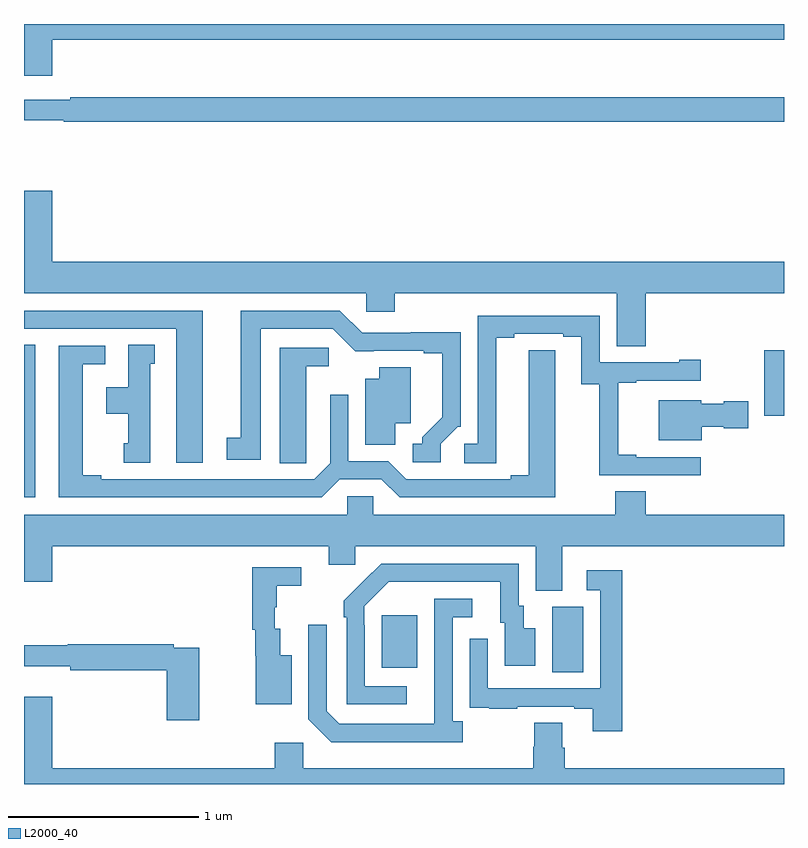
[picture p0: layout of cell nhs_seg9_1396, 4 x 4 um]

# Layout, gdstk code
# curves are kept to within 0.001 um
import gdstk
lib = gdstk.Library(unit=1e-6, precision=1e-09)
def R(c, l, rs):  # rectangles x0, y0, x1, y1
    for r in rs: c.add(gdstk.rectangle(r[:2], r[2:], *l))
def P(c, l, *ps):  # polygons
    for p in ps: c.add(gdstk.Polygon(p, *l))
L2000_40 = (2000, 40)

nhs_seg9_1396 = lib.new_cell('nhs_seg9_1396')
R(nhs_seg9_1396, L2000_40, [(191.78,1197.088,191.944,1197.432), (190.883,1197.113,191.071,1197.388), (189,1198.008,189.058,1198.811), (192.896,1198.439,193,1198.783)])
P(nhs_seg9_1396, L2000_40, [(189.148,1200.416),(193,1200.416),(193,1200.5),(189,1200.5),(189,1200.228),(189.148,1200.228)],
  [(193,1200.115),(189.244,1200.115),(189.244,1200.102),(189,1200.102),(189,1199.994),(189.208,1199.994),(189.208,1199.986),(193,1199.986)],
  [(192.272,1199.084),(193,1199.084),(193,1199.248),(189.148,1199.248),(189.148,1199.623),(189,1199.623),(189,1199.084),(190.8,1199.084),(190.8,1198.986),(190.952,1198.986),(190.952,1199.084),(192.119,1199.084),(192.119,1198.804),(192.272,1198.804)],
  [(189.94,1198.992),(189,1198.992),(189,1198.896),(189.8,1198.896),(189.8,1198.191),(189.94,1198.191)],
  [(191.193,1198.29),(191.283,1198.38),(191.298,1198.38),(191.298,1198.877),(191.035,1198.877),(191.035,1198.875),(190.779,1198.875),(190.662,1198.992),(190.142,1198.992),(190.142,1198.322),(190.068,1198.322),(190.068,1198.206),(190.246,1198.206),(190.246,1198.896),(190.626,1198.896),(190.744,1198.778),(191.105,1198.779),(191.105,1198.767),(191.201,1198.767),(191.201,1198.43),(191.096,1198.325),(191.096,1198.29),(191.046,1198.29),(191.046,1198.194),(191.193,1198.194)],
  [(192.562,1198.221),(192.223,1198.221),(192.223,1198.234),(192.128,1198.234),(192.128,1198.611),(192.223,1198.611),(192.223,1198.623),(192.562,1198.623),(192.562,1198.732),(192.449,1198.732),(192.449,1198.719),(192.03,1198.719),(192.03,1198.965),(191.388,1198.965),(191.388,1198.29),(191.316,1198.29),(191.316,1198.189),(191.485,1198.189),(191.485,1198.849),(191.581,1198.849),(191.581,1198.869),(191.837,1198.869),(191.837,1198.854),(191.933,1198.854),(191.933,1198.603),(192.028,1198.603),(192.028,1198.125),(192.562,1198.125)],
  [(189.664,1198.713),(189.688,1198.713),(189.688,1198.811),(189.548,1198.811),(189.548,1198.588),(189.434,1198.588),(189.434,1198.448),(189.548,1198.448),(189.548,1198.293),(189.524,1198.293),(189.524,1198.191),(189.664,1198.191)],
  [(190.663,1198.104),(190.881,1198.104),(190.977,1198.008),(191.797,1198.008),(191.796,1198.784),(191.657,1198.784),(191.657,1198.124),(191.561,1198.124),(191.561,1198.104),(191.013,1198.104),(190.917,1198.2),(190.707,1198.2),(190.707,1198.549),(190.611,1198.549),(190.611,1198.188),(190.527,1198.104),(189.406,1198.104),(189.406,1198.124),(189.31,1198.124),(189.31,1198.71),(189.427,1198.71),(189.427,1198.806),(189.182,1198.806),(189.182,1198.008),(190.567,1198.008)],
  [(190.485,1198.297),(190.486,1198.297),(190.486,1198.7),(190.603,1198.7),(190.603,1198.797),(190.346,1198.797),(190.346,1198.189),(190.485,1198.189)],
  [(190.954,1198.4),(191.035,1198.4),(191.035,1198.694),(190.871,1198.694),(190.871,1198.633),(190.796,1198.633),(190.796,1198.285),(190.954,1198.285)],
  [(192.568,1198.379),(192.684,1198.379),(192.684,1198.372),(192.811,1198.372),(192.811,1198.514),(192.684,1198.514),(192.684,1198.501),(192.564,1198.501),(192.564,1198.519),(192.341,1198.519),(192.341,1198.31),(192.568,1198.31)],
  [(191.833,1197.752),(193,1197.752),(193,1197.916),(192.272,1197.916),(192.272,1198.04),(192.112,1198.04),(192.112,1197.916),(190.839,1197.916),(190.839,1198.014),(190.701,1198.014),(190.701,1197.916),(189,1197.916),(189,1197.564),(189.148,1197.564),(189.148,1197.752),(190.604,1197.752),(190.604,1197.654),(190.743,1197.654),(190.743,1197.752),(191.693,1197.752),(191.693,1197.517),(191.833,1197.517)],
  [(191.014,1197.015),(190.794,1197.015),(190.794,1197.335),(190.791,1197.335),(190.791,1197.435),(190.92,1197.564),(191.507,1197.564),(191.507,1197.348),(191.531,1197.348),(191.531,1197.123),(191.692,1197.123),(191.692,1197.319),(191.629,1197.319),(191.629,1197.438),(191.604,1197.438),(191.604,1197.66),(190.88,1197.66),(190.683,1197.465),(190.683,1197.377),(190.698,1197.377),(190.698,1196.919),(191.014,1196.919)],
  [(190.408,1197.178),(190.348,1197.178),(190.348,1197.316),(190.319,1197.316),(190.319,1197.431),(190.33,1197.431),(190.33,1197.544),(190.459,1197.544),(190.459,1197.642),(190.201,1197.642),(190.201,1197.312),(190.216,1197.312),(190.216,1197.174),(190.22,1197.174),(190.22,1196.921),(190.408,1196.921)],
  [(192.149,1197.625),(191.961,1197.625),(191.961,1197.519),(192.033,1197.519),(192.033,1197.003),(191.442,1197.003),(191.442,1197.265),(191.346,1197.265),(191.346,1197.01),(191.347,1197.01),(191.347,1196.901),(191.449,1196.901),(191.449,1196.895),(191.597,1196.895),(191.597,1196.907),(191.897,1196.907),(191.897,1196.895),(191.993,1196.895),(191.993,1196.778),(192.149,1196.778)],
  [(191.308,1196.83),(191.256,1196.83),(191.256,1197.378),(191.359,1197.378),(191.359,1197.474),(191.16,1197.474),(191.159,1196.817),(190.659,1196.817),(190.593,1196.883),(190.593,1197.337),(190.497,1197.337),(190.497,1196.841),(190.618,1196.72),(191.308,1196.72)],
  [(189.922,1197.216),(189.788,1197.216),(189.788,1197.236),(189.23,1197.236),(189.23,1197.229),(189,1197.229),(189,1197.119),(189.244,1197.119),(189.244,1197.1),(189.752,1197.1),(189.752,1196.835),(189.922,1196.835)],
  [(190.319,1196.716),(190.319,1196.584),(189.148,1196.584),(189.148,1196.959),(189,1196.959),(189,1196.5),(193,1196.5),(193,1196.584),(191.846,1196.584),(191.846,1196.69),(191.833,1196.69),(191.833,1196.822),(191.686,1196.822),(191.686,1196.697),(191.681,1196.697),(191.681,1196.584),(190.47,1196.584),(190.47,1196.716)])

lib.write_gds('nhs_seg9_1396.gds')
